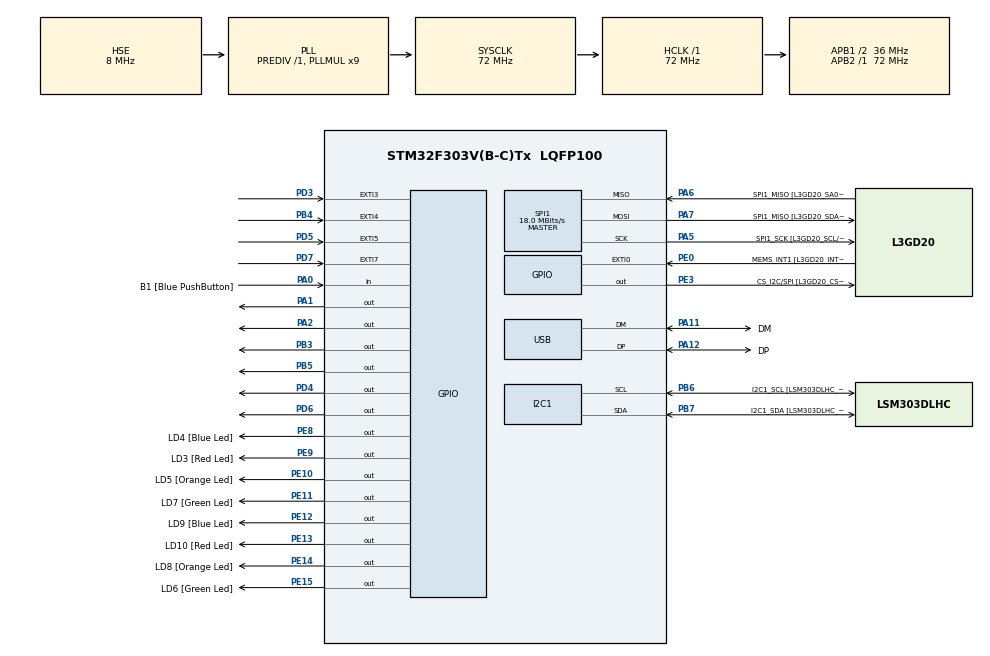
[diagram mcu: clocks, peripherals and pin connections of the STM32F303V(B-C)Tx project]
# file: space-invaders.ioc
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FREERTOS.BinarySemaphores01=keypadSem,Dynamic,NULL
FREERTOS.Tasks01=updateLcdTask,26,1500,StartUpdateLcdTask,Default,NULL,Dynamic,NULL,NULL;updateBulletsTa,40,128,StartUpdateBulletsTask,Default,NULL,Dynamic,NULL,NULL;enemyShootTask,24,128,StartEnemyShootTask,Default,NULL,Dynamic,NULL,NULL;moveDownEnemies,24,128,StartMoveDownEnemiesTask,Default,NULL,Dynamic,NULL,NULL;handleKeyPressT,24,128,StartHandleKeyPressTask,Default,NULL,Dynamic,NULL,NULL
FREERTOS.configTOTAL_HEAP_SIZE=15000
FREERTOS.configUSE_NEWLIB_REENTRANT=1
I2C1.Timing-I2C=0x2000090E
Mcu.Family=STM32F3
Mcu.Name=STM32F303V(B-C)Tx
Mcu.Package=LQFP100
NVIC.EXTI3_IRQn=true\:5\:0\:false\:false\:true\:true\:true\:true
NVIC.EXTI4_IRQn=true\:5\:0\:false\:false\:true\:true\:true\:true
NVIC.EXTI9_5_IRQn=true\:5\:0\:false\:false\:true\:true\:true\:true
NVIC.PriorityGroup=NVIC_PRIORITYGROUP_4
NVIC.TIM1_UP_TIM16_IRQn=true\:15\:0\:false\:false\:true\:false\:false\:true
NVIC.TimeBase=TIM1_UP_TIM16_IRQn
NVIC.TimeBaseIP=TIM1
PA0.GPIO_Label=B1 [Blue PushButton]
PA0.Signal=GPIO_Input
PA1.Signal=GPIO_Output
PA11.GPIO_Label=DM
PA11.Mode=Device
PA11.Signal=USB_DM
PA12.GPIO_Label=DP
PA12.Mode=Device
PA12.Signal=USB_DP
PA13.GPIO_Label=SWDIO
PA13.Mode=Serial_Wire
PA13.Signal=SYS_JTMS-SWDIO
PA14.GPIO_Label=SWCLK
PA14.Mode=Serial_Wire
PA14.Signal=SYS_JTCK-SWCLK
PA2.Signal=GPIO_Output
PA5.GPIO_Label=SPI1_SCK [L3GD20_SCL/SPC]
PA5.Mode=Full_Duplex_Master
PA5.Signal=SPI1_SCK
PA6.GPIO_Label=SPI1_MISO [L3GD20_SA0/SDO]
PA6.Mode=Full_Duplex_Master
PA6.Signal=SPI1_MISO
PA7.GPIO_Label=SPI1_MISO [L3GD20_SDA/SDI/SDO]
PA7.Mode=Full_Duplex_Master
PA7.Signal=SPI1_MOSI
PB3.Signal=GPIO_Output
PB4.GPIO_PuPd=GPIO_PULLDOWN
PB4.Signal=GPXTI4
PB5.Signal=GPIO_Output
PB6.GPIO_Label=I2C1_SCL [LSM303DLHC_SCL]
PB6.GPIO_Pu=GPIO_PULLUP
PB6.Mode=I2C
PB6.Signal=I2C1_SCL
PB7.GPIO_Label=I2C1_SDA [LSM303DLHC_SDA]
PB7.GPIO_Pu=GPIO_PULLUP
PB7.Mode=I2C
PB7.Signal=I2C1_SDA
PC14-OSC32_IN.GPIO_Label=OSC32_IN
PC14-OSC32_IN.Signal=RCC_OSC32_IN
PC15-OSC32_OUT.GPIO_Label=OSC32_OUT
PC15-OSC32_OUT.Signal=RCC_OSC32_OUT
PD3.GPIO_PuPd=GPIO_PULLDOWN
PD3.Signal=GPXTI3
PD4.Signal=GPIO_Output
PD5.GPIO_PuPd=GPIO_PULLDOWN
PD5.Signal=GPXTI5
PD6.Signal=GPIO_Output
PD7.GPIO_PuPd=GPIO_PULLDOWN
PD7.Signal=GPXTI7
PE0.GPIO_Label=MEMS_INT1 [L3GD20_INT1]
PE0.GPIO_ModeDefaultEXTI=GPIO_MODE_EVT_RISING
PE0.Signal=GPXTI0
PE10.GPIO_Label=LD5 [Orange Led]
PE10.Signal=GPIO_Output
PE11.GPIO_Label=LD7 [Green Led]
PE11.Signal=GPIO_Output
PE12.GPIO_Label=LD9 [Blue Led]
PE12.Signal=GPIO_Output
PE13.GPIO_Label=LD10 [Red Led]
PE13.Signal=GPIO_Output
PE14.GPIO_Label=LD8 [Orange Led]
PE14.Signal=GPIO_Output
PE15.GPIO_Label=LD6 [Green Led]
PE15.Signal=GPIO_Output
PE3.GPIO_Label=CS_I2C/SPI [L3GD20_CS_I2C/SPI]
PE3.Signal=GPIO_Output
PE8.GPIO_Label=LD4 [Blue Led]
PE8.Signal=GPIO_Output
PE9.GPIO_Label=LD3 [Red Led]
PE9.Signal=GPIO_Output
PF0-OSC_IN.GPIO_Label=OSC_IN
PF0-OSC_IN.Mode=HSE-External-Oscillator
PF0-OSC_IN.Signal=RCC_OSC_IN
PF1-OSC_OUT.GPIO_Label=OSC_OUT
PF1-OSC_OUT.Mode=HSE-External-Oscillator
PF1-OSC_OUT.Signal=RCC_OSC_OUT
ProjectManager.HeapSize=0x200
ProjectManager.StackSize=0x400
ProjectManager.TargetToolchain=STM32CubeIDE
RCC.AHBFreq_Value=72000000
RCC.APB1CLKDivider=RCC_HCLK_DIV2
RCC.APB1Freq_Value=36000000
RCC.APB1TimFreq_Value=72000000
RCC.APB2Freq_Value=72000000
RCC.APB2TimFreq_Value=72000000
RCC.CortexFreq_Value=72000000
RCC.HCLKFreq_Value=72000000
RCC.HSE_VALUE=8000000
RCC.HSI_VALUE=8000000
RCC.LSE_VALUE=32768
RCC.PLLMUL=RCC_PLL_MUL9
RCC.PRESCALERUSB=RCC_USBCLKSOURCE_PLL_DIV1_5
RCC.SYSCLKFreq_VALUE=72000000
RCC.SYSCLKSourceVirtual=RCC_SYSCLKSOURCE_PLLCLK
RCC.USBFreq_Value=48000000
SPI1.BaudRatePrescaler=SPI_BAUDRATEPRESCALER_4
SPI1.BaudRatePrescaler-Full_Duplex_Master=SPI_BAUDRATEPRESCALER_2
SPI1.CalculateBaudRate=18.0 MBits/s
SPI1.CalculateBaudRate-Full_Duplex_Master=24.0 MBits/s
SPI1.Direction=SPI_DIRECTION_2LINES
SPI1.Mode=SPI_MODE_MASTER
SPI1.Mode-Full_Duplex_Master=SPI_MODE_MASTER
SPI1.VirtualType=VM_MASTER
VP_FREERTOS_VS_CMSIS_V2.Mode=CMSIS_V2
VP_RTC_VS_RTC_Activate.Mode=RTC_Enabled
VP_RTC_VS_RTC_Calendar.Mode=RTC_Calendar
VP_SYS_VS_tim1.Mode=TIM1
board=STM32F3DISCOVERY

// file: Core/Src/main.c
/* USER CODE BEGIN Header */
/**
  ******************************************************************************
  * @file           : main.c
  * @brief          : Main program body
  ******************************************************************************
  * @attention
  *
  * <h2><center>&copy; Copyright (c) 2023 STMicroelectronics.
  * All rights reserved.</center></h2>
  *
  * This software component is licensed by ST under BSD 3-Clause license,
  * the "License"; You may not use this file except in compliance with the
  * License. You may obtain a copy of the License at:
  *                        opensource.org/licenses/BSD-3-Clause
  *
  ******************************************************************************
  */
/* USER CODE END Header */
#include "main.h"
#include "cmsis_os.h"

/* USER CODE BEGIN Includes */
#include "globals.h"
#include "lcd.h"
#include "bullets.h"
#include <stdio.h>
#include <stdlib.h>
#include <time.h>
#include "screenmanager.h"
#include "config.h"
#include "keypad.h"

/* USER CODE END Includes */

I2C_HandleTypeDef hi2c1;

RTC_HandleTypeDef hrtc;

SPI_HandleTypeDef hspi1;

PCD_HandleTypeDef hpcd_USB_FS;

/* Definitions for updateLcdTask */
osThreadId_t updateLcdTaskHandle;
const osThreadAttr_t updateLcdTask_attributes = {
  .name = "updateLcdTask",
  .stack_size = 1500 * 4,
  .priority = (osPriority_t) osPriorityNormal2,
};
/* Definitions for updateBulletsTa */
osThreadId_t updateBulletsTaHandle;
const osThreadAttr_t updateBulletsTa_attributes = {
  .name = "updateBulletsTa",
  .stack_size = 128 * 4,
  .priority = (osPriority_t) osPriorityHigh,
};
/* Definitions for enemyShootTask */
osThreadId_t enemyShootTaskHandle;
const osThreadAttr_t enemyShootTask_attributes = {
  .name = "enemyShootTask",
  .stack_size = 128 * 4,
  .priority = (osPriority_t) osPriorityNormal,
};
/* Definitions for moveDownEnemies */
osThreadId_t moveDownEnemiesHandle;
const osThreadAttr_t moveDownEnemies_attributes = {
  .name = "moveDownEnemies",
  .stack_size = 128 * 4,
  .priority = (osPriority_t) osPriorityNormal,
};
/* Definitions for handleKeyPressT */
osThreadId_t handleKeyPressTHandle;
const osThreadAttr_t handleKeyPressT_attributes = {
  .name = "handleKeyPressT",
  .stack_size = 128 * 4,
  .priority = (osPriority_t) osPriorityNormal,
};
/* Definitions for keypadSem */
osSemaphoreId_t keypadSemHandle;
const osSemaphoreAttr_t keypadSem_attributes = {
  .name = "keypadSem"
};
/* USER CODE BEGIN PV */
osMutexId_t lcdMutexHandle;
const osMutexAttr_t lcdMutex_attributes = {
  .name = "lcdMutex"
};
/* USER CODE END PV */

void SystemClock_Config(void);
static void MX_GPIO_Init(void);
static void MX_I2C1_Init(void);
static void MX_SPI1_Init(void);
static void MX_USB_PCD_Init(void);
static void MX_RTC_Init(void);
void StartUpdateLcdTask(void *argument);
void StartUpdateBulletsTask(void *argument);
void StartEnemyShootTask(void *argument);
void StartMoveDownEnemiesTask(void *argument);
void StartHandleKeyPressTask(void *argument);

int main(void)
{
  /* USER CODE BEGIN 1 */
	srand(time(NULL));

  /* USER CODE END 1 */

  /* MCU Configuration--------------------------------------------------------*/

  /* Reset of all peripherals, Initializes the Flash interface and the Systick. */
  HAL_Init();

  /* Configure the system clock */
  SystemClock_Config();

  /* Initialize all configured peripherals */
  MX_GPIO_Init();
  MX_I2C1_Init();
  MX_SPI1_Init();
  MX_USB_PCD_Init();
  MX_RTC_Init();

  /* Init scheduler */
  osKernelInitialize();

  /* USER CODE BEGIN RTOS_MUTEX */
  /* add mutexes, ... */
  lcdMutexHandle = osMutexNew(&lcdMutex_attributes);
  /* USER CODE END RTOS_MUTEX */

  /* Create the semaphores(s) */
  /* creation of keypadSem */
  keypadSemHandle = osSemaphoreNew(1, 1, &keypadSem_attributes);

  /* Create the thread(s) */
  /* creation of updateLcdTask */
  updateLcdTaskHandle = osThreadNew(StartUpdateLcdTask, NULL, &updateLcdTask_attributes);

  /* creation of updateBulletsTa */
  updateBulletsTaHandle = osThreadNew(StartUpdateBulletsTask, NULL, &updateBulletsTa_attributes);

  /* creation of enemyShootTask */
  enemyShootTaskHandle = osThreadNew(StartEnemyShootTask, NULL, &enemyShootTask_attributes);

  /* creation of moveDownEnemies */
  moveDownEnemiesHandle = osThreadNew(StartMoveDownEnemiesTask, NULL, &moveDownEnemies_attributes);

  /* creation of handleKeyPressT */
  handleKeyPressTHandle = osThreadNew(StartHandleKeyPressTask, NULL, &handleKeyPressT_attributes);

  /* Start scheduler */
  osKernelStart();

  /* We should never get here as control is now taken by the scheduler */
  /* Infinite loop */
  while (1)
  {

  }
}

void SystemClock_Config(void)
{
  RCC_OscInitTypeDef RCC_OscInitStruct = {0};
  RCC_ClkInitTypeDef RCC_ClkInitStruct = {0};
  RCC_PeriphCLKInitTypeDef PeriphClkInit = {0};

  /** Initializes the RCC Oscillators according to the specified parameters
  * in the RCC_OscInitTypeDef structure.
  */
  RCC_OscInitStruct.OscillatorType = RCC_OSCILLATORTYPE_HSI|RCC_OSCILLATORTYPE_LSI
                              |RCC_OSCILLATORTYPE_HSE;
  RCC_OscInitStruct.HSEState = RCC_HSE_ON;
  RCC_OscInitStruct.HSEPredivValue = RCC_HSE_PREDIV_DIV1;
  RCC_OscInitStruct.HSIState = RCC_HSI_ON;
  RCC_OscInitStruct.HSICalibrationValue = RCC_HSICALIBRATION_DEFAULT;
  RCC_OscInitStruct.LSIState = RCC_LSI_ON;
  RCC_OscInitStruct.PLL.PLLState = RCC_PLL_ON;
  RCC_OscInitStruct.PLL.PLLSource = RCC_PLLSOURCE_HSE;
  RCC_OscInitStruct.PLL.PLLMUL = RCC_PLL_MUL9;
  if (HAL_RCC_OscConfig(&RCC_OscInitStruct) != HAL_OK)
  {
    Error_Handler();
  }
  /** Initializes the CPU, AHB and APB buses clocks
  */
  RCC_ClkInitStruct.ClockType = RCC_CLOCKTYPE_HCLK|RCC_CLOCKTYPE_SYSCLK
                              |RCC_CLOCKTYPE_PCLK1|RCC_CLOCKTYPE_PCLK2;
  RCC_ClkInitStruct.SYSCLKSource = RCC_SYSCLKSOURCE_PLLCLK;
  RCC_ClkInitStruct.AHBCLKDivider = RCC_SYSCLK_DIV1;
  RCC_ClkInitStruct.APB1CLKDivider = RCC_HCLK_DIV2;
  RCC_ClkInitStruct.APB2CLKDivider = RCC_HCLK_DIV1;

  if (HAL_RCC_ClockConfig(&RCC_ClkInitStruct, FLASH_LATENCY_2) != HAL_OK)
  {
    Error_Handler();
  }
  PeriphClkInit.PeriphClockSelection = RCC_PERIPHCLK_USB|RCC_PERIPHCLK_I2C1
                              |RCC_PERIPHCLK_RTC;
  PeriphClkInit.I2c1ClockSelection = RCC_I2C1CLKSOURCE_HSI;
  PeriphClkInit.RTCClockSelection = RCC_RTCCLKSOURCE_LSI;
  PeriphClkInit.USBClockSelection = RCC_USBCLKSOURCE_PLL_DIV1_5;
  if (HAL_RCCEx_PeriphCLKConfig(&PeriphClkInit) != HAL_OK)
  {
    Error_Handler();
  }
}

static void MX_I2C1_Init(void)
{

  hi2c1.Instance = I2C1;
  hi2c1.Init.Timing = 0x2000090E;
  hi2c1.Init.OwnAddress1 = 0;
  hi2c1.Init.AddressingMode = I2C_ADDRESSINGMODE_7BIT;
  hi2c1.Init.DualAddressMode = I2C_DUALADDRESS_DISABLE;
  hi2c1.Init.OwnAddress2 = 0;
  hi2c1.Init.OwnAddress2Masks = I2C_OA2_NOMASK;
  hi2c1.Init.GeneralCallMode = I2C_GENERALCALL_DISABLE;
  hi2c1.Init.NoStretchMode = I2C_NOSTRETCH_DISABLE;
  if (HAL_I2C_Init(&hi2c1) != HAL_OK)
  {
    Error_Handler();
  }
  /** Configure Analogue filter
  */
  if (HAL_I2CEx_ConfigAnalogFilter(&hi2c1, I2C_ANALOGFILTER_ENABLE) != HAL_OK)
  {
    Error_Handler();
  }
  /** Configure Digital filter
  */
  if (HAL_I2CEx_ConfigDigitalFilter(&hi2c1, 0) != HAL_OK)
  {
    Error_Handler();
  }

}

static void MX_RTC_Init(void)
{

  RTC_TimeTypeDef sTime = {0};
  RTC_DateTypeDef sDate = {0};

  /** Initialize RTC Only
  */
  hrtc.Instance = RTC;
  hrtc.Init.HourFormat = RTC_HOURFORMAT_24;
  hrtc.Init.AsynchPrediv = 127;
  hrtc.Init.SynchPrediv = 255;
  hrtc.Init.OutPut = RTC_OUTPUT_DISABLE;
  hrtc.Init.OutPutPolarity = RTC_OUTPUT_POLARITY_HIGH;
  hrtc.Init.OutPutType = RTC_OUTPUT_TYPE_OPENDRAIN;
  if (HAL_RTC_Init(&hrtc) != HAL_OK)
  {
    Error_Handler();
  }

  /** Initialize RTC and set the Time and Date
  */
  sTime.Hours = 0x0;
  sTime.Minutes = 0x0;
  sTime.Seconds = 0x0;
  sTime.DayLightSaving = RTC_DAYLIGHTSAVING_NONE;
  sTime.StoreOperation = RTC_STOREOPERATION_RESET;
  if (HAL_RTC_SetTime(&hrtc, &sTime, RTC_FORMAT_BCD) != HAL_OK)
  {
    Error_Handler();
  }
  sDate.WeekDay = RTC_WEEKDAY_MONDAY;
  sDate.Month = RTC_MONTH_JANUARY;
  sDate.Date = 0x1;
  sDate.Year = 0x0;

  if (HAL_RTC_SetDate(&hrtc, &sDate, RTC_FORMAT_BCD) != HAL_OK)
  {
    Error_Handler();
  }

}

static void MX_SPI1_Init(void)
{

  /* SPI1 parameter configuration*/
  hspi1.Instance = SPI1;
  hspi1.Init.Mode = SPI_MODE_MASTER;
  hspi1.Init.Direction = SPI_DIRECTION_2LINES;
  hspi1.Init.DataSize = SPI_DATASIZE_4BIT;
  hspi1.Init.CLKPolarity = SPI_POLARITY_LOW;
  hspi1.Init.CLKPhase = SPI_PHASE_1EDGE;
  hspi1.Init.NSS = SPI_NSS_SOFT;
  hspi1.Init.BaudRatePrescaler = SPI_BAUDRATEPRESCALER_4;
  hspi1.Init.FirstBit = SPI_FIRSTBIT_MSB;
  hspi1.Init.TIMode = SPI_TIMODE_DISABLE;
  hspi1.Init.CRCCalculation = SPI_CRCCALCULATION_DISABLE;
  hspi1.Init.CRCPolynomial = 7;
  hspi1.Init.CRCLength = SPI_CRC_LENGTH_DATASIZE;
  hspi1.Init.NSSPMode = SPI_NSS_PULSE_ENABLE;
  if (HAL_SPI_Init(&hspi1) != HAL_OK)
  {
    Error_Handler();
  }

}

static void MX_USB_PCD_Init(void)
{

  hpcd_USB_FS.Instance = USB;
  hpcd_USB_FS.Init.dev_endpoints = 8;
  hpcd_USB_FS.Init.speed = PCD_SPEED_FULL;
  hpcd_USB_FS.Init.phy_itface = PCD_PHY_EMBEDDED;
  hpcd_USB_FS.Init.low_power_enable = DISABLE;
  hpcd_USB_FS.Init.battery_charging_enable = DISABLE;
  if (HAL_PCD_Init(&hpcd_USB_FS) != HAL_OK)
  {
    Error_Handler();
  }

}

static void MX_GPIO_Init(void)
{
  GPIO_InitTypeDef GPIO_InitStruct = {0};

  /* GPIO Ports Clock Enable */
  __HAL_RCC_GPIOE_CLK_ENABLE();
  __HAL_RCC_GPIOC_CLK_ENABLE();
  __HAL_RCC_GPIOF_CLK_ENABLE();
  __HAL_RCC_GPIOA_CLK_ENABLE();
  __HAL_RCC_GPIOD_CLK_ENABLE();
  __HAL_RCC_GPIOB_CLK_ENABLE();

  /*Configure GPIO pin Output Level */
  HAL_GPIO_WritePin(GPIOE, CS_I2C_SPI_Pin|LD4_Pin|LD3_Pin|LD5_Pin
                          |LD7_Pin|LD9_Pin|LD10_Pin|LD8_Pin
                          |LD6_Pin, GPIO_PIN_RESET);

  /*Configure GPIO pin Output Level */
  HAL_GPIO_WritePin(GPIOA, GPIO_PIN_1|GPIO_PIN_2, GPIO_PIN_RESET);

  /*Configure GPIO pin Output Level */
  HAL_GPIO_WritePin(GPIOD, GPIO_PIN_4|GPIO_PIN_6, GPIO_PIN_RESET);

  /*Configure GPIO pin Output Level */
  HAL_GPIO_WritePin(GPIOB, GPIO_PIN_3|GPIO_PIN_5, GPIO_PIN_RESET);

  /*Configure GPIO pins : CS_I2C_SPI_Pin LD4_Pin LD3_Pin LD5_Pin
                           LD7_Pin LD9_Pin LD10_Pin LD8_Pin
                           LD6_Pin */
  GPIO_InitStruct.Pin = CS_I2C_SPI_Pin|LD4_Pin|LD3_Pin|LD5_Pin
                          |LD7_Pin|LD9_Pin|LD10_Pin|LD8_Pin
                          |LD6_Pin;
  GPIO_InitStruct.Mode = GPIO_MODE_OUTPUT_PP;
  GPIO_InitStruct.Pull = GPIO_NOPULL;
  GPIO_InitStruct.Speed = GPIO_SPEED_FREQ_LOW;
  HAL_GPIO_Init(GPIOE, &GPIO_InitStruct);

  /*Configure GPIO pin : B1_Pin */
  GPIO_InitStruct.Pin = B1_Pin;
  GPIO_InitStruct.Mode = GPIO_MODE_INPUT;
  GPIO_InitStruct.Pull = GPIO_NOPULL;
  HAL_GPIO_Init(B1_GPIO_Port, &GPIO_InitStruct);

  /*Configure GPIO pins : PA1 PA2 */
  GPIO_InitStruct.Pin = GPIO_PIN_1|GPIO_PIN_2;
  GPIO_InitStruct.Mode = GPIO_MODE_OUTPUT_PP;
  GPIO_InitStruct.Pull = GPIO_NOPULL;
  GPIO_InitStruct.Speed = GPIO_SPEED_FREQ_LOW;
  HAL_GPIO_Init(GPIOA, &GPIO_InitStruct);

  /*Configure GPIO pins : PD3 PD5 PD7 */
  GPIO_InitStruct.Pin = GPIO_PIN_3|GPIO_PIN_5|GPIO_PIN_7;
  GPIO_InitStruct.Mode = GPIO_MODE_IT_RISING;
  GPIO_InitStruct.Pull = GPIO_PULLDOWN;
  HAL_GPIO_Init(GPIOD, &GPIO_InitStruct);

  /*Configure GPIO pins : PD4 PD6 */
  GPIO_InitStruct.Pin = GPIO_PIN_4|GPIO_PIN_6;
  GPIO_InitStruct.Mode = GPIO_MODE_OUTPUT_PP;
  GPIO_InitStruct.Pull = GPIO_NOPULL;
  GPIO_InitStruct.Speed = GPIO_SPEED_FREQ_LOW;
  HAL_GPIO_Init(GPIOD, &GPIO_InitStruct);

  /*Configure GPIO pins : PB3 PB5 */
  GPIO_InitStruct.Pin = GPIO_PIN_3|GPIO_PIN_5;
  GPIO_InitStruct.Mode = GPIO_MODE_OUTPUT_PP;
  GPIO_InitStruct.Pull = GPIO_NOPULL;
  GPIO_InitStruct.Speed = GPIO_SPEED_FREQ_LOW;
  HAL_GPIO_Init(GPIOB, &GPIO_InitStruct);

  /*Configure GPIO pin : PB4 */
  GPIO_InitStruct.Pin = GPIO_PIN_4;
  GPIO_InitStruct.Mode = GPIO_MODE_IT_RISING;
  GPIO_InitStruct.Pull = GPIO_PULLDOWN;
  HAL_GPIO_Init(GPIOB, &GPIO_InitStruct);

  /*Configure GPIO pin : MEMS_INT1_Pin */
  GPIO_InitStruct.Pin = MEMS_INT1_Pin;
  GPIO_InitStruct.Mode = GPIO_MODE_EVT_RISING;
  GPIO_InitStruct.Pull = GPIO_NOPULL;
  HAL_GPIO_Init(MEMS_INT1_GPIO_Port, &GPIO_InitStruct);

  /* EXTI interrupt init*/
  HAL_NVIC_SetPriority(EXTI3_IRQn, 5, 0);
  HAL_NVIC_EnableIRQ(EXTI3_IRQn);

  HAL_NVIC_SetPriority(EXTI4_IRQn, 5, 0);
  HAL_NVIC_EnableIRQ(EXTI4_IRQn);

  HAL_NVIC_SetPriority(EXTI9_5_IRQn, 5, 0);
  HAL_NVIC_EnableIRQ(EXTI9_5_IRQn);

}

void StartUpdateLcdTask(void *argument)
{
  /* USER CODE BEGIN 5 */
	initLcd();

	handleShowingScreen();
	Screen lastDrawnScreen = getCurrentScreen();

  /* Infinite loop */
  for(;;)  {
	  if(lastDrawnScreen != getCurrentScreen()) {
		  handleShowingScreen();
		  lastDrawnScreen = getCurrentScreen();
	  }
	  osDelay(350);
  }
  /* USER CODE END 5 */
}

void StartUpdateBulletsTask(void *argument)
{
  /* USER CODE BEGIN StartUpdateBulletsTask */

  /* Infinite loop */
  for(;;) {

	  osDelay(1000);

	if(getCurrentScreen() == SCREEN_GAME) {
		moveAllBullets();

		handleHittingHero();
		if(getHeroLevelHealth() == 0) { // If hero kooshte shod
			// TODO
		}

		handleHittingEnemy();
		if(getKilledEnemyCountToWin() == 0) {
			// TODO
		}

		updateAllBulletsOnMatrix();
	}
  }
  /* USER CODE END StartUpdateBulletsTask */
}

void StartEnemyShootTask(void *argument)
{
  /* USER CODE BEGIN StartEnemyShootTask */
  /* Infinite loop */
  for(;;) {
	osDelay(5000);
	if(getCurrentScreen() == SCREEN_GAME) {
		if(rand() % 8 == 0) {
			int lastRow = findLastRowOfEnemies();
			int col = findRandomEnemyCol(lastRow);
			if(col != UNDEFINED) {
				shoot(lastRow + 1, 1, DOWN);
			}
		}
	}
  }
  /* USER CODE END StartEnemyShootTask */
}

void StartMoveDownEnemiesTask(void *argument)
{
  /* USER CODE BEGIN StartMoveDownEnemiesTask */
  /* Infinite loop */
  for(;;) {
	  osDelay(getMoveEnemiesDownInterval());
	if(getCurrentScreen() == SCREEN_GAME) {
		moveEnemiesDown();
	}
  }
  /* USER CODE END StartMoveDownEnemiesTask */
}

void StartHandleKeyPressTask(void *argument)
{
  /* USER CODE BEGIN StartHandleKeyPressTask */

  /* Infinite loop */
  for(;;)
  {
	  osSemaphoreAcquire(keypadSemHandle, osWaitForever);
	  handleKeyPress(keyNumber);

  }
  /* USER CODE END StartHandleKeyPressTask */
}

void HAL_TIM_PeriodElapsedCallback(TIM_HandleTypeDef *htim)
{
  if (htim->Instance == TIM1) {
    HAL_IncTick();
  }
}

void Error_Handler(void)
{
  __disable_irq();
  while (1)
  {
  }
}

/************************ (C) COPYRIGHT STMicroelectronics *****END OF FILE****/
